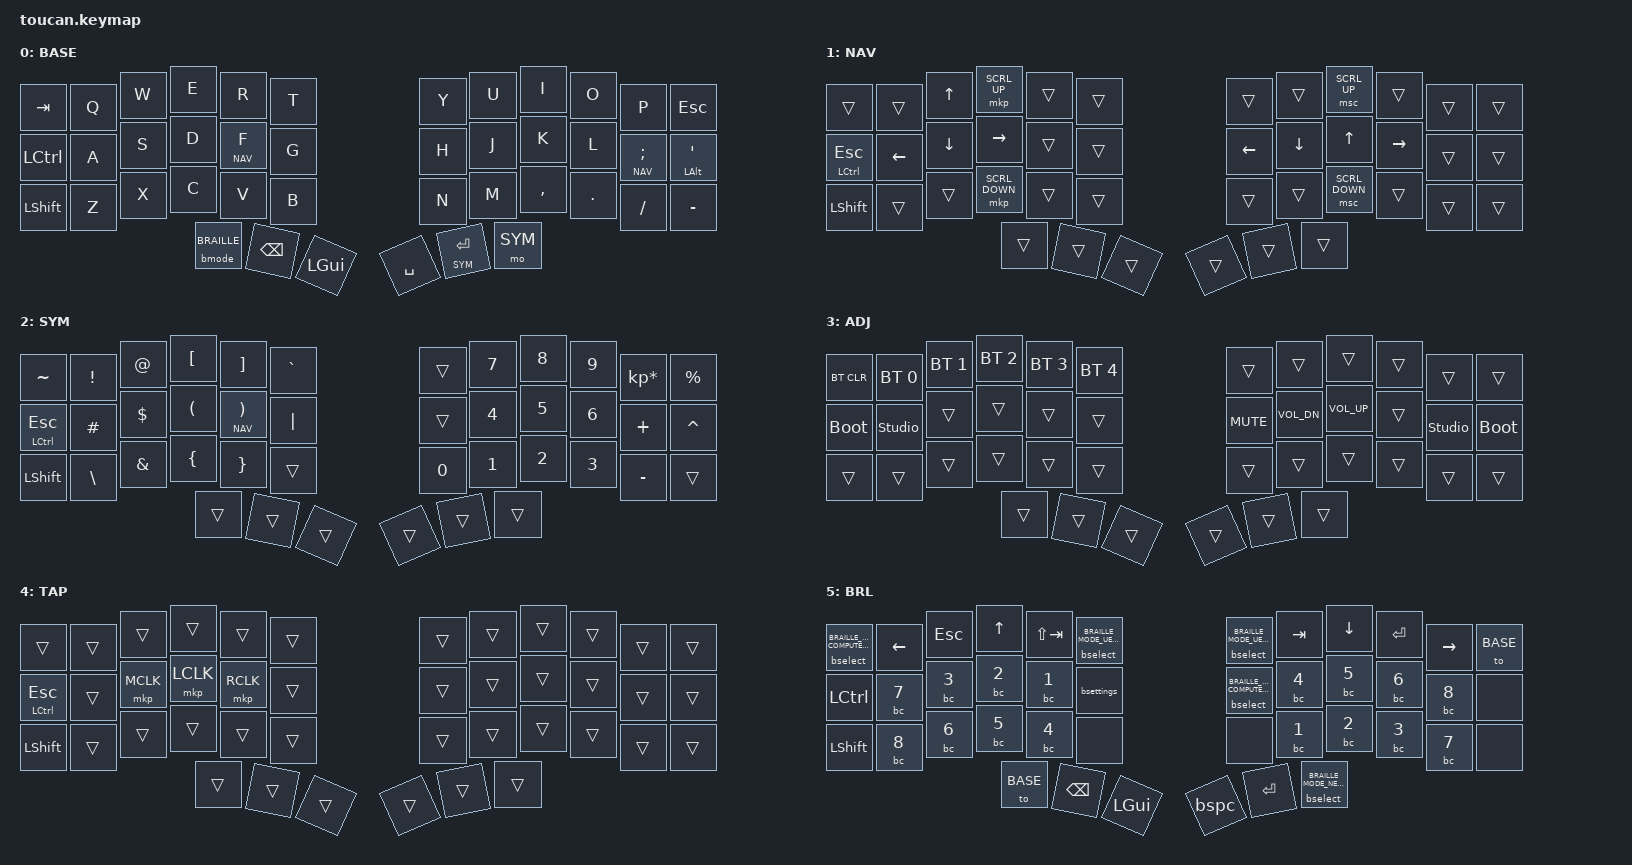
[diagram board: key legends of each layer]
#include <behaviors.dtsi>
#include <behaviors/braille.dtsi>
#include <dt-bindings/zmk/keys.h>
#include <dt-bindings/zmk/bt.h>
#include <dt-bindings/zmk/outputs.h>
#include <dt-bindings/zmk/pointing.h>

#define BASE 0
#define NAV  1
#define SYM  2
#define ADJ  3
#define TAP  4
#define BRAILLE 5

#define ZMK_POINTING_DEFAULT_SCRL_VAL 30 // Default is 10;

&msc {
    acceleration-exponent = <0>;      // Disables acceleration for flat, predictable tapping
    time-to-max-speed-ms = <0>;       // Instantly outputs full speed on tap
    // delay-ms = <0>;                   // Removes tap response lag
};

/ {
    conditional_layers {
        compatible = "zmk,conditional-layers";
        tri_layer {
            if-layers = <1 2>;
            then-layer = <3>;
        };
    };

    combos {
        compatible = "zmk,combos";

        // Type numbers and bracket pairs from the BASE layer without switching
        // to SYM. Each combo is the symbol's spot on the SYM layer plus the key
        // immediately to one side, so the muscle memory follows where the symbol
        // lives on SYM. All are restricted to BASE (layers = <BASE>) so the
        // positions keep their normal behaviour on SYM/NAV/etc. timeout-ms is
        // the window in which every key of the combo must land; tune up if a
        // combo is hard to hit or down if it fires during fast typing rolls.
        //
        // Digits sit on the right hand, each shifted one key to the right of the
        // number's SYM position so the pairs land on more comfortable rolls:
        //   top row  : 7=ui  8=io  9=op
        //   home row : 4=jk  5=kl  6=l;
        //   bottom   : 1=m,  2=,.  3=./   0=m,.
        // Zero stays the three-key odd one out (m , .), nesting over the 1 and 2
        // combos; ZMK fires the longest matching combo, so m+,+. gives 0 while
        // m+, alone gives 1 and ,+. alone gives 2.
        combo_num_1 { timeout-ms = <50>; key-positions = <31 32>;    bindings = <&kp N1>; layers = <BASE>; };
        combo_num_2 { timeout-ms = <50>; key-positions = <32 33>;    bindings = <&kp N2>; layers = <BASE>; };
        combo_num_3 { timeout-ms = <50>; key-positions = <33 34>;    bindings = <&kp N3>; layers = <BASE>; };
        combo_num_4 { timeout-ms = <50>; key-positions = <19 20>;    bindings = <&kp N4>; layers = <BASE>; };
        combo_num_5 { timeout-ms = <50>; key-positions = <20 21>;    bindings = <&kp N5>; layers = <BASE>; };
        combo_num_6 { timeout-ms = <50>; key-positions = <21 22>;    bindings = <&kp N6>; layers = <BASE>; };
        combo_num_7 { timeout-ms = <50>; key-positions = <7 8>;      bindings = <&kp N7>; layers = <BASE>; };
        combo_num_8 { timeout-ms = <50>; key-positions = <8 9>;      bindings = <&kp N8>; layers = <BASE>; };
        combo_num_9 { timeout-ms = <50>; key-positions = <9 10>;     bindings = <&kp N9>; layers = <BASE>; };
        combo_num_0 { timeout-ms = <50>; key-positions = <31 32 33>; bindings = <&kp N0>; layers = <BASE>; };

        // Bracket pairs, same idea as the digits: the symbol's SYM spot plus the
        // key to its left. Left/right halves of each pair sit side by side on
        // the same BASE row as the brackets do on SYM:
        //   ( = sd  ) = df   (home row)
        //   [ = we  ] = er   (top row)
        //   { = xc  } = cv   (bottom row)
        combo_lpar { timeout-ms = <50>; key-positions = <14 15>; bindings = <&kp LPAR>; layers = <BASE>; };
        combo_rpar { timeout-ms = <50>; key-positions = <15 16>; bindings = <&kp RPAR>; layers = <BASE>; };
        combo_lbkt { timeout-ms = <50>; key-positions = <2 3>;   bindings = <&kp LBKT>; layers = <BASE>; };
        combo_rbkt { timeout-ms = <50>; key-positions = <3 4>;   bindings = <&kp RBKT>; layers = <BASE>; };
        combo_lbrc { timeout-ms = <50>; key-positions = <26 27>; bindings = <&kp LBRC>; layers = <BASE>; };
        combo_rbrc { timeout-ms = <50>; key-positions = <27 28>; bindings = <&kp RBRC>; layers = <BASE>; };

        // Disabled in favour of a nested alt layer, kept for reference:
        // hold all four corner keys of one half to jump it into the bootloader.
        //   left  -> 0 5 24 29   right -> 6 11 30 35
        // combo_boot_left  { timeout-ms = <100>; key-positions = <0 5 24 29>;  bindings = <&bootloader>; };
        // combo_boot_right { timeout-ms = <100>; key-positions = <6 11 30 35>; bindings = <&bootloader>; };
    };

    behaviors {
        // "Timeless homerow mods" style hold-tap, applied as a layer-tap.
        // Tap  -> sends the key (param 2).
        // Hold -> momentarily activates the layer (param 1).
        //
        // The robustness comes from `balanced` flavor + `require-prior-idle-ms`
        // rather than from timing alone: a quick roll where the held key is
        // released first resolves as a tap, and a key pressed within
        // require-prior-idle-ms of an earlier keypress is forced to a tap so it
        // never fires mid-typing. See urob's writeup:
        //   https://github.com/urob/zmk-config#timeless-homerow-mods
        //
        // Note: the usual opposite-hand `hold-trigger-key-positions` guard is
        // intentionally omitted here because the NAV layer's keys (arrows /
        // mouse clicks) live on the same hand as `f`, so a positional guard
        // would block the very keys this layer exists to reach.
        hl: homerow_layer_tap {
            compatible = "zmk,behavior-hold-tap";
            #binding-cells = <2>;
            flavor = "balanced";
            tapping-term-ms = <280>;
            quick-tap-ms = <175>;
            require-prior-idle-ms = <150>;
            bindings = <&mo>, <&kp>;
        };

        // Same timeless settings as `hl`, but a mod-tap rather than a
        // layer-tap: the hold binding is `&kp`, so holding sends a real
        // modifier (param 1) instead of switching layers, while a tap still
        // sends the key (param 2). Used for the Ctrl/Esc home-row key.
        hm: homerow_mod_tap {
            compatible = "zmk,behavior-hold-tap";
            #binding-cells = <2>;
            flavor = "balanced";
            tapping-term-ms = <280>;
            quick-tap-ms = <175>;
            require-prior-idle-ms = <150>;
            bindings = <&kp>, <&kp>;
        };
    };

    keymap {
        compatible = "zmk,keymap";

        base {
            display-name = "BASE";
            bindings = <
                &kp TAB         &kp Q           &kp W           &kp E           &kp R           &kp T                                           &kp Y           &kp U           &kp I           &kp O           &kp P           &kp ESC         
                &kp LCTRL       &kp A           &kp S           &kp D           &hl NAV F       &kp G                                           &kp H           &kp J           &kp K           &kp L           &hl NAV SEMI    &hm LALT SQT    
                &kp LSHFT       &kp Z           &kp X           &kp C           &kp V           &kp B                                           &kp N           &kp M           &kp COMMA       &kp DOT         &kp FSLH        &kp MINUS       
                                                                                &bmode BRAILLE  &kp BSPC        &kp LGUI        &kp SPACE       &hl SYM RET     &mo SYM
            >;
        };

        nav {
            display-name = "NAV";
            bindings = <
                &trans          &trans          &kp UP          &mkp SCRL_UP    &trans          &trans                                          &trans          &trans          &msc SCRL_UP    &trans          &trans          &trans          
                &hm LCTRL ESC   &kp LEFT        &kp DOWN        &kp RIGHT       &trans          &trans                                          &kp LEFT        &kp DOWN        &kp UP          &kp RIGHT       &trans          &trans          
                &kp LSHFT       &trans          &trans          &mkp SCRL_DOWN  &trans          &trans                                          &trans          &trans          &msc SCRL_DOWN  &trans          &trans          &trans          
                                                                                &trans          &trans          &trans          &trans          &trans          &trans          
            >;
        };

        sym {
            display-name = "SYM";
            bindings = <
                &kp TILDE       &kp EXCL        &kp AT          &kp LBKT        &kp RBKT        &kp GRAVE                                       &trans          &kp N7          &kp N8          &kp N9          &kp KP_MULTIPLY &kp PRCNT       
                &hm LCTRL ESC   &kp HASH        &kp DLLR        &kp LPAR        &hl NAV RPAR    &kp PIPE                                        &trans          &kp N4          &kp N5          &kp N6          &kp PLUS        &kp CARET       
                &kp LSHFT       &kp BSLH        &kp AMPS        &kp LBRC        &kp RBRC        &trans                                          &kp N0          &kp N1          &kp N2          &kp N3          &kp MINUS       &trans          
                                                                                &trans          &trans          &trans          &trans          &trans          &trans          
            >;
        };

        adj {
            display-name = "ADJ";
            bindings = <
                &bt BT_CLR      &bt BT_SEL 0    &bt BT_SEL 1    &bt BT_SEL 2    &bt BT_SEL 3    &bt BT_SEL 4                                    &trans          &trans          &trans          &trans          &trans          &trans          
                &bootloader     &studio_unlock  &trans          &trans          &trans          &trans                                          &kp C_MUTE      &kp C_VOL_DN    &kp C_VOL_UP    &trans          &studio_unlock  &bootloader     
                &trans          &trans          &trans          &trans          &trans          &trans                                          &trans          &trans          &trans          &trans          &trans          &trans          
                                                                                &trans          &trans          &trans          &trans          &trans          &trans          
            >;
        };

        tap {
            display-name = "TAP";
            bindings = <
                &trans          &trans          &trans          &trans          &trans          &trans                                          &trans          &trans          &trans          &trans          &trans          &trans          
                &hm LCTRL ESC   &trans          &mkp MCLK       &mkp LCLK       &mkp RCLK       &trans                                          &trans          &trans          &trans          &trans          &trans          &trans          
                &kp LSHFT       &trans          &trans          &trans          &trans          &trans                                          &trans          &trans          &trans          &trans          &trans          &trans          
                                                                                &trans          &trans          &trans          &trans          &trans          &trans          
            >;
        };
        // bmode is a hold/tap Braille-layer key, not a character-mode selector.
        // The left outer thumb and top-right key explicitly return to BASE.
        // Top row: outer left selects Computer8; inner left UEB1; inner right UEB2.
        // Right outer thumb cycles compiled modes; left home-row inner key opens settings.
        // Right home-row inner key selects 8-dot with shorthand. Navigation sits above the dots.
        // LS(TAB) holds Shift with Tab and releases it when Tab is released.
        braille {
            display-name = "BRL";
            bindings = <
                &bselect BRAILLE_MODE_COMPUTER8 &kp LEFT        &kp ESC         &kp UP          &kp LS(TAB)     &bselect BRAILLE_MODE_UEB1                       &bselect BRAILLE_MODE_UEB2           &kp TAB         &kp DOWN        &kp RET         &kp RIGHT       &to BASE
                &kp LCTRL       &bc 7           &bc 3           &bc 2           &bc 1           &bsettings                                      &bselect BRAILLE_MODE_COMPUTER8_SHORT           &bc 4           &bc 5           &bc 6           &bc 8           &none
                &kp LSHFT       &bc 8           &bc 6           &bc 5           &bc 4           &none                                           &none           &bc 1           &bc 2           &bc 3           &bc 7           &none
                                                                                &to BASE        &kp BSPC        &kp LGUI        &bspc           &kp RET         &bselect BRAILLE_MODE_NEXT
            >;
        };
    };
};

#ifdef CONFIG_ZMK_STUDIO
/ {
    keymap {
        extra_1 {
                status = "reserved";
        };

        extra_2 {
                status = "reserved";
        };

        extra_3 {
                status = "reserved";
        };
    };
};
#endif
